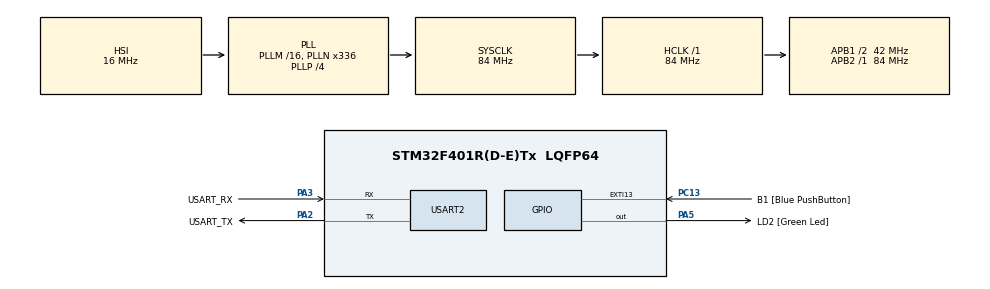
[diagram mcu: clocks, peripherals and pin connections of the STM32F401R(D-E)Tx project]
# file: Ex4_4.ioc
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Mcu.Family=STM32F4
Mcu.Name=STM32F401R(D-E)Tx
Mcu.Package=LQFP64
NVIC.PriorityGroup=NVIC_PRIORITYGROUP_0
NVIC.USART2_IRQn=true\:0\:0\:false\:false\:true\:true\:true\:true
PA13.GPIO_Label=TMS
PA13.Mode=Serial_Wire
PA13.Signal=SYS_JTMS-SWDIO
PA14.GPIO_Label=TCK
PA14.Mode=Serial_Wire
PA14.Signal=SYS_JTCK-SWCLK
PA2.GPIO_Label=USART_TX
PA2.GPIO_Mode=GPIO_MODE_AF_PP
PA2.GPIO_PuPd=GPIO_NOPULL
PA2.GPIO_Speed=GPIO_SPEED_FREQ_LOW
PA2.Mode=Asynchronous
PA2.Signal=USART2_TX
PA3.GPIO_Label=USART_RX
PA3.GPIO_Mode=GPIO_MODE_AF_PP
PA3.GPIO_PuPd=GPIO_NOPULL
PA3.GPIO_Speed=GPIO_SPEED_FREQ_LOW
PA3.Mode=Asynchronous
PA3.Signal=USART2_RX
PA5.GPIO_Label=LD2 [Green Led]
PA5.GPIO_Mode=GPIO_MODE_OUTPUT_PP
PA5.GPIO_PuPd=GPIO_NOPULL
PA5.GPIO_Speed=GPIO_SPEED_FREQ_LOW
PA5.Signal=GPIO_Output
PB3.GPIO_Label=SWO
PB3.Signal=SYS_JTDO-SWO
PC13-ANTI_TAMP.GPIO_Label=B1 [Blue PushButton]
PC13-ANTI_TAMP.GPIO_ModeDefaultEXTI=GPIO_MODE_IT_FALLING
PC13-ANTI_TAMP.GPIO_PuPd=GPIO_NOPULL
PC13-ANTI_TAMP.Signal=GPXTI13
PC14-OSC32_IN.Mode=LSE-External-Oscillator
PC14-OSC32_IN.Signal=RCC_OSC32_IN
PC15-OSC32_OUT.Mode=LSE-External-Oscillator
PC15-OSC32_OUT.Signal=RCC_OSC32_OUT
PH0\ -\ OSC_IN.Mode=HSE-External-Clock-Source
PH0\ -\ OSC_IN.Signal=RCC_OSC_IN
PH1\ -\ OSC_OUT.Mode=HSE-External-Clock-Source
PH1\ -\ OSC_OUT.Signal=RCC_OSC_OUT
ProjectManager.HeapSize=0x200
ProjectManager.StackSize=0x400
ProjectManager.TargetToolchain=STM32CubeIDE
RCC.48MHZClocksFreq_Value=48000000
RCC.AHBFreq_Value=84000000
RCC.APB1CLKDivider=RCC_HCLK_DIV2
RCC.APB1Freq_Value=42000000
RCC.APB1TimFreq_Value=84000000
RCC.APB2Freq_Value=84000000
RCC.APB2TimFreq_Value=84000000
RCC.CortexFreq_Value=84000000
RCC.HCLKFreq_Value=84000000
RCC.HSE_VALUE=8000000
RCC.HSI_VALUE=16000000
RCC.PLLN=336
RCC.PLLP=RCC_PLLP_DIV4
RCC.PLLQ=7
RCC.SYSCLKFreq_VALUE=84000000
RCC.SYSCLKSource=RCC_SYSCLKSOURCE_PLLCLK
RCC.VCOOutputFreq_Value=336000000
USART2.VirtualMode=VM_ASYNC
board=NUCLEO-F401RE

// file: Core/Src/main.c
/* USER CODE BEGIN Header */
/**
  ******************************************************************************
  * @file           : main.c
  * @brief          : Main program body
  ******************************************************************************
  * @attention
  *
  * Copyright (c) 2023 STMicroelectronics.
  * All rights reserved.
  *
  * This software is licensed under terms that can be found in the LICENSE file
  * in the root directory of this software component.
  * If no LICENSE file comes with this software, it is provided AS-IS.
  *
  ******************************************************************************
  */
/* USER CODE END Header */
#include "main.h"

/* USER CODE BEGIN PTD */
typedef enum {
	OFF,
	ON,
	BLINK
}LED_Stat_TypeDef;
/* USER CODE END PTD */

UART_HandleTypeDef huart2;

/* USER CODE BEGIN PV */
LED_Stat_TypeDef led_stat = OFF;
uint8_t recv[2] = {0, };
/* USER CODE END PV */

void SystemClock_Config(void);
static void MX_GPIO_Init(void);
static void MX_USART2_UART_Init(void);

int main(void)
{

  /* MCU Configuration--------------------------------------------------------*/

  /* Reset of all peripherals, Initializes the Flash interface and the Systick. */
  HAL_Init();

  /* Configure the system clock */
  SystemClock_Config();

  /* Initialize all configured peripherals */
  MX_GPIO_Init();
  MX_USART2_UART_Init();
  /* USER CODE BEGIN 2 */
  HAL_UART_Receive_IT(&huart2, recv, 1);
  /* USER CODE END 2 */

  /* Infinite loop */
  /* USER CODE BEGIN WHILE */
  while (1)
  {
	  switch(led_stat)
	  {
	  case OFF:
		  HAL_GPIO_WritePin(GPIOA, GPIO_PIN_5, GPIO_PIN_RESET);
		  break;
	  case ON:
		  HAL_GPIO_WritePin(GPIOA, GPIO_PIN_5, GPIO_PIN_SET);
		  break;
	  case BLINK:
		  HAL_GPIO_TogglePin(GPIOA, GPIO_PIN_5);
		  HAL_Delay(500);
		  break;
	  }
    /* USER CODE END WHILE */

  }
}

void SystemClock_Config(void)
{
  RCC_OscInitTypeDef RCC_OscInitStruct = {0};
  RCC_ClkInitTypeDef RCC_ClkInitStruct = {0};

  /** Configure the main internal regulator output voltage
  */
  __HAL_RCC_PWR_CLK_ENABLE();
  __HAL_PWR_VOLTAGESCALING_CONFIG(PWR_REGULATOR_VOLTAGE_SCALE2);

  /** Initializes the RCC Oscillators according to the specified parameters
  * in the RCC_OscInitTypeDef structure.
  */
  RCC_OscInitStruct.OscillatorType = RCC_OSCILLATORTYPE_HSI;
  RCC_OscInitStruct.HSIState = RCC_HSI_ON;
  RCC_OscInitStruct.HSICalibrationValue = RCC_HSICALIBRATION_DEFAULT;
  RCC_OscInitStruct.PLL.PLLState = RCC_PLL_ON;
  RCC_OscInitStruct.PLL.PLLSource = RCC_PLLSOURCE_HSI;
  RCC_OscInitStruct.PLL.PLLM = 16;
  RCC_OscInitStruct.PLL.PLLN = 336;
  RCC_OscInitStruct.PLL.PLLP = RCC_PLLP_DIV4;
  RCC_OscInitStruct.PLL.PLLQ = 7;
  if (HAL_RCC_OscConfig(&RCC_OscInitStruct) != HAL_OK)
  {
    Error_Handler();
  }

  /** Initializes the CPU, AHB and APB buses clocks
  */
  RCC_ClkInitStruct.ClockType = RCC_CLOCKTYPE_HCLK|RCC_CLOCKTYPE_SYSCLK
                              |RCC_CLOCKTYPE_PCLK1|RCC_CLOCKTYPE_PCLK2;
  RCC_ClkInitStruct.SYSCLKSource = RCC_SYSCLKSOURCE_PLLCLK;
  RCC_ClkInitStruct.AHBCLKDivider = RCC_SYSCLK_DIV1;
  RCC_ClkInitStruct.APB1CLKDivider = RCC_HCLK_DIV2;
  RCC_ClkInitStruct.APB2CLKDivider = RCC_HCLK_DIV1;

  if (HAL_RCC_ClockConfig(&RCC_ClkInitStruct, FLASH_LATENCY_2) != HAL_OK)
  {
    Error_Handler();
  }
}

static void MX_USART2_UART_Init(void)
{

  huart2.Instance = USART2;
  huart2.Init.BaudRate = 115200;
  huart2.Init.WordLength = UART_WORDLENGTH_8B;
  huart2.Init.StopBits = UART_STOPBITS_1;
  huart2.Init.Parity = UART_PARITY_NONE;
  huart2.Init.Mode = UART_MODE_TX_RX;
  huart2.Init.HwFlowCtl = UART_HWCONTROL_NONE;
  huart2.Init.OverSampling = UART_OVERSAMPLING_16;
  if (HAL_UART_Init(&huart2) != HAL_OK)
  {
    Error_Handler();
  }

}

static void MX_GPIO_Init(void)
{
  GPIO_InitTypeDef GPIO_InitStruct = {0};

  /* GPIO Ports Clock Enable */
  __HAL_RCC_GPIOC_CLK_ENABLE();
  __HAL_RCC_GPIOH_CLK_ENABLE();
  __HAL_RCC_GPIOA_CLK_ENABLE();
  __HAL_RCC_GPIOB_CLK_ENABLE();

  /*Configure GPIO pin Output Level */
  HAL_GPIO_WritePin(LD2_GPIO_Port, LD2_Pin, GPIO_PIN_RESET);

  /*Configure GPIO pin : B1_Pin */
  GPIO_InitStruct.Pin = B1_Pin;
  GPIO_InitStruct.Mode = GPIO_MODE_IT_FALLING;
  GPIO_InitStruct.Pull = GPIO_NOPULL;
  HAL_GPIO_Init(B1_GPIO_Port, &GPIO_InitStruct);

  /*Configure GPIO pin : LD2_Pin */
  GPIO_InitStruct.Pin = LD2_Pin;
  GPIO_InitStruct.Mode = GPIO_MODE_OUTPUT_PP;
  GPIO_InitStruct.Pull = GPIO_NOPULL;
  GPIO_InitStruct.Speed = GPIO_SPEED_FREQ_LOW;
  HAL_GPIO_Init(LD2_GPIO_Port, &GPIO_InitStruct);

}

/* USER CODE BEGIN 4 */
void HAL_UART_RxCpltCallback(UART_HandleTypeDef *huart)
{
	if(huart->Instance == USART2)
	{
		switch(recv[0])
		{
		case 'f':
		case 'F':
			led_stat = OFF;
			break;
		case 'n':
		case 'N':
			led_stat = ON;
			break;
		case 'b':
		case 'B':
			led_stat = BLINK;
			break;
		}
		HAL_UART_Receive_IT(huart, recv, 1);
	}
}
/* USER CODE END 4 */

void Error_Handler(void)
{
  __disable_irq();
  while (1)
  {
  }
}
